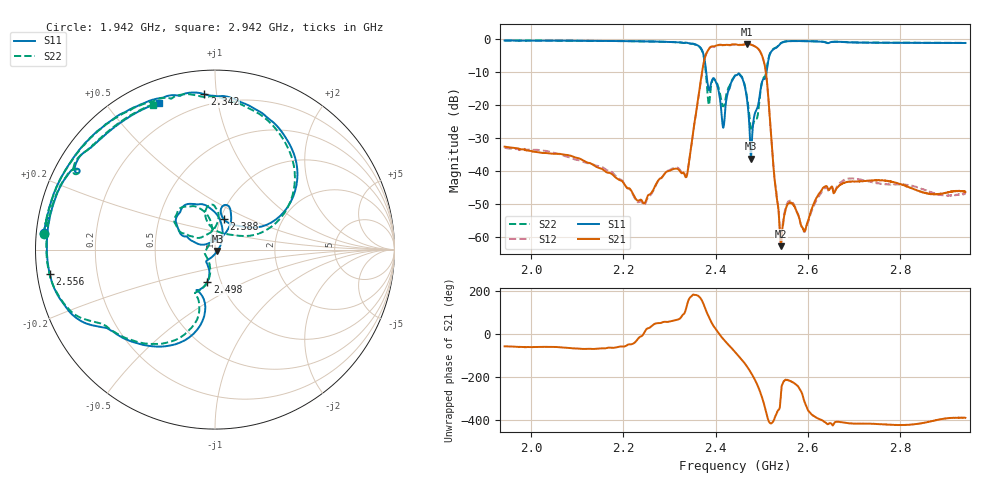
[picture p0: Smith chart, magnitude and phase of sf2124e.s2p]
# Hz S RI R 50
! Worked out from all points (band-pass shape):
!   1601 points, 1.942 GHz to 2.942 GHz, reference 50 ohm
!   highest |S21| = -1.53 dB at 2.468 GHz (marker M1); lowest = -62.9 dB at 2.541 GHz (marker M2)
!   |S21| within 3 dB of the highest: 2.379 GHz to 2.499 GHz (120.4 MHz wide, 4.93 % of centre)
!   lowest |S11| = -36.3 dB at 2.476 GHz (marker M3), VSWR 1.03, Z = 51.4 - j0.712 ohm
!   |S11| at or under -10 dB: 2.38 GHz to 2.511 GHz (131 MHz wide, 5.36 % of centre)
!   |S22| runs from -27.6 to -0.4 dB; largest |S21 - S12| = 0.017
!   S11 on the Smith chart (normalised r, x): 1.942 GHz: 0.02, +0.05; 2.342 GHz: 0.13, +0.92; 2.388 GHz: 1.04, +0.36; 2.498 GHz: 0.86, -0.32; 2.556 GHz: 0.04, -0.07; 2.942 GHz: 0.10, +0.68
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1.942e9  -0.9528 0.0924  0.0128 -0.0194  0.012 -0.0188  -0.9537 0.0847
2.108875e9  -0.8566 0.4034  0.00546 -0.0138  0.00566 -0.0128  -0.8661 0.3859
2.24325e9  -0.6279 0.6816  0.00324 2.46e-05  0.00305 -3.14e-05  -0.6514 0.6606
2.27575e9  -0.5205 0.7575  0.00446 0.00563  0.00418 0.00569  -0.5501 0.7355
2.342e9  -0.0601 0.8659  -0.0127 0.00388  -0.0129 0.00461  -0.0993 0.858
2.373875e9  0.4537 0.3575  -0.3299 0.2796  -0.317 0.2688  0.4391 0.3334
2.387625e9  0.049 0.1699  0.2613 0.7029  0.2656 0.6957  -0.0272 0.1327
2.410125e9  0.0607 0.095  0.821 -0.0828  0.8116 -0.079  0.00984 0.1412
2.417625e9  -0.0302 0.0373  0.7418 -0.3475  0.737 -0.3446  -0.057 0.0782
2.442e9  -0.2161 0.176  0.0962 -0.8315  0.0987 -0.8188  -0.2276 0.165
2.46825e9  0.0414 0.1119  -0.7374 -0.3999  -0.7397 -0.4091  -0.0167 0.1279
2.476375e9  0.0137 -0.00693  -0.8266 -0.0174  -0.8316 -0.0186  -0.0297 0.0325
2.4895e9  -0.047 -0.0733  -0.46 0.5856  -0.4588 0.5852  -0.0466 -0.0414
2.49825e9  -0.0426 -0.1796  0.1035 0.6101  0.0997 0.6054  -0.0401 -0.1772
2.512625e9  -0.0694 -0.3968  0.1571 -0.0908  0.1576 -0.0867  -0.1138 -0.4134
2.541375e9  -0.7814 -0.3734  0.000293 0.000652  0.000304 0.000708  -0.8 -0.3465
2.55575e9  -0.9212 -0.1345  -0.00258 0.00167  -0.00269 0.0019  -0.9269 -0.1136
2.591375e9  -0.909 0.2264  0.000719 0.000993  0.000778 0.000897  -0.9103 0.2309
2.608875e9  -0.8716 0.3318  0.00256 -0.000696  0.00234 -0.000751  -0.8751 0.3307
2.68325e9  -0.7068 0.5578  0.00396 -0.00544  0.0045 -0.00595  -0.719 0.5483
2.77575e9  -0.5546 0.6866  0.00327 -0.00609  0.00311 -0.00532  -0.5762 0.6745
2.942e9  -0.3128 0.8186  0.00413 -0.00239  0.00398 -0.00189  -0.3457 0.8084
